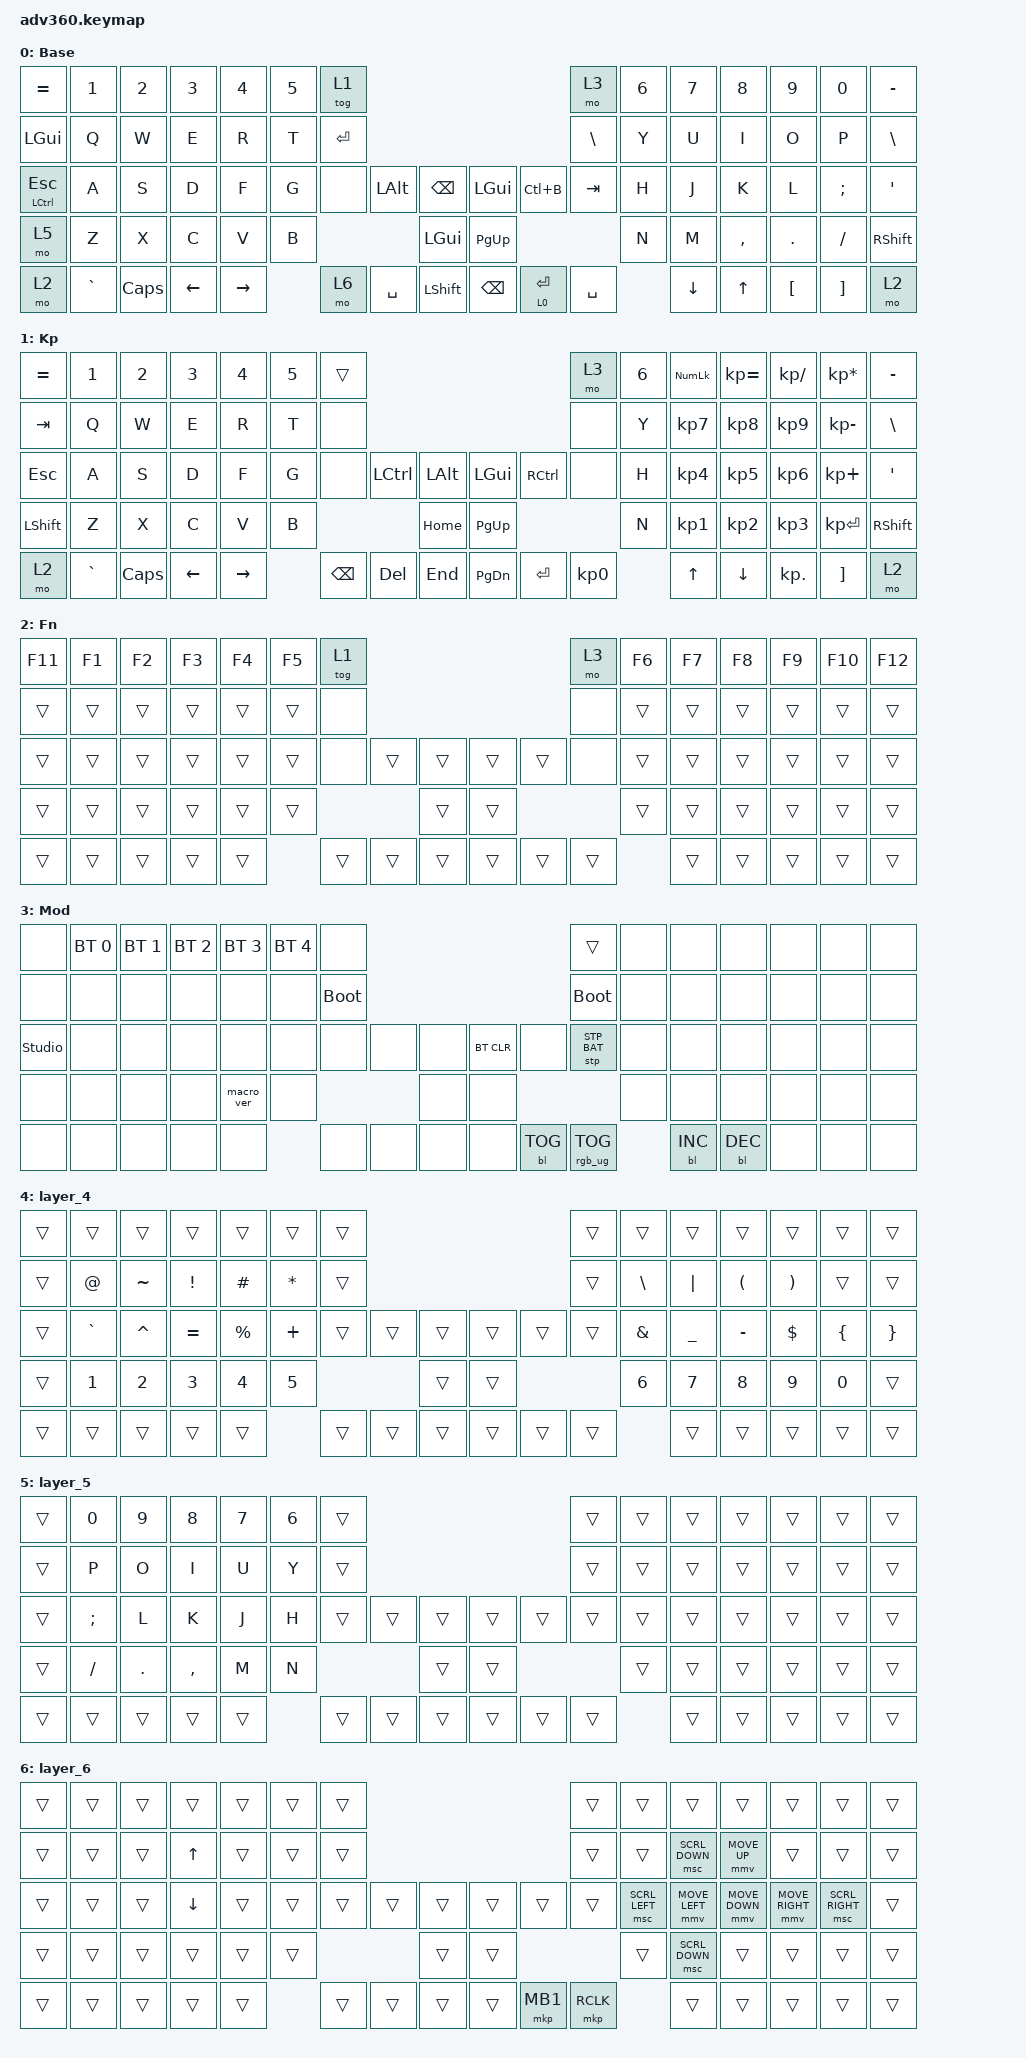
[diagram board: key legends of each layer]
#include <dt-bindings/zmk/stp.h>
#include <dt-bindings/zmk/stp.h>
#include <behaviors.dtsi>
#include <dt-bindings/zmk/backlight.h>
#include <dt-bindings/zmk/bt.h>
#include <dt-bindings/zmk/keys.h>
#define ZMK_POINTING_DEFAULT_MOVE_VAL 1500
#define ZMK_POINTING_DEFAULT_SCRL_VAL 20
#include <dt-bindings/zmk/pointing.h>
#include <dt-bindings/zmk/rgb.h>

/ {
    behaviors {
        #include "macros.dtsi"
      #include "version.dtsi"

      #ifndef VERSION_MACRO

        macro_ver: macro_ver {
            compatible = "zmk,behavior-macro";
            label = "macro_version";
            #binding-cells = <0>;
            bindings = <&kp RET>;
        };

        #endif

        hm: homerow_mods {
            compatible = "zmk,behavior-hold-tap";
            label = "HOMEROW_MODS";
            #binding-cells = <2>;
            tapping-term-ms = <200>;
            quick_tap_ms = <175>;
            flavor = "tap-preferred";
            bindings = <&kp>, <&kp>;
        };

        hrimm: hrimm {
            compatible = "zmk,behavior-hold-tap";
            label = "HRIMM";
            bindings = <&mo>, <&kp>;

            #binding-cells = <2>;
            tapping-term-ms = <115>;
        };

        taphrimm: taphrimm {
            compatible = "zmk,behavior-hold-tap";
            label = "TAPHRIMM";
            bindings = <&kp>, <&kp>;

            #binding-cells = <2>;
            tapping-term-ms = <140>;
        };
    };

    macros {
    };

    keymap {
        compatible = "zmk,keymap";

        default_layer {
            display-name = "Base";
            bindings = <
&kp EQUAL                      &kp N1     &kp N2    &kp N3    &kp N4     &kp N5  &tog 1                                                                      &mo 3          &kp N6  &kp N7    &kp N8     &kp N9    &kp N0    &kp MINUS
&kp LGUI                       &kp Q      &kp W     &kp E     &kp R      &kp T   &kp ENTER                                                                   &kp BACKSLASH  &kp Y   &kp U     &kp I      &kp O     &kp P     &kp BSLH
&taphrimm LEFT_CONTROL ESCAPE  &kp A      &kp S     &kp D     &kp F      &kp G   &none      &kp LEFT_ALT  &kp BACKSPACE       &kp LGUI       &kp LC(B)       &kp TAB        &kp H   &kp J     &kp K      &kp L     &kp SEMI  &kp SQT
&mo 5                          &kp Z      &kp X     &kp C     &kp V      &kp B                            &kp LGUI            &kp PG_UP                                     &kp N   &kp M     &kp COMMA  &kp DOT   &kp FSLH  &kp RSHFT
&mo 2                          &kp GRAVE  &kp CAPS  &kp LEFT  &kp RIGHT          &mo 6      &kp SPACE     &kp LEFT_SHIFT      &kp BACKSPACE  &hrimm 0 ENTER  &kp SPACE              &kp DOWN  &kp UP     &kp LBKT  &kp RBKT  &mo 2
            >;
        };

        keypad {
            display-name = "Kp";
            bindings = <
&kp EQUAL  &kp N1     &kp N2    &kp N3    &kp N4     &kp N5  &trans                                                   &mo 3      &kp N6  &kp KP_NUM  &kp KP_EQUAL  &kp KP_DIVIDE  &kp KP_MULTIPLY  &kp MINUS
&kp TAB    &kp Q      &kp W     &kp E     &kp R      &kp T   &none                                                    &none      &kp Y   &kp KP_N7   &kp KP_N8     &kp KP_N9      &kp KP_MINUS     &kp BSLH
&kp ESC    &kp A      &kp S     &kp D     &kp F      &kp G   &none     &kp LCTRL  &kp LALT      &kp LGUI   &kp RCTRL  &none      &kp H   &kp KP_N4   &kp KP_N5     &kp KP_N6      &kp KP_PLUS      &kp SQT
&kp LSHFT  &kp Z      &kp X     &kp C     &kp V      &kp B                        &kp HOME      &kp PG_UP                        &kp N   &kp KP_N1   &kp KP_N2     &kp KP_N3      &kp KP_ENTER     &kp RSHFT
&mo 2      &kp GRAVE  &kp CAPS  &kp LEFT  &kp RIGHT          &kp BSPC  &kp DEL    &kp END       &kp PG_DN  &kp ENTER  &kp KP_N0          &kp UP      &kp DOWN      &kp KP_DOT     &kp RBKT         &mo 2
            >;
        };

        fn {
            display-name = "Fn";
            bindings = <
&kp F11  &kp F1  &kp F2  &kp F3  &kp F4  &kp F5  &tog 1                                      &mo 3   &kp F6  &kp F7  &kp F8  &kp F9  &kp F10  &kp F12
&trans   &trans  &trans  &trans  &trans  &trans  &none                                       &none   &trans  &trans  &trans  &trans  &trans   &trans
&trans   &trans  &trans  &trans  &trans  &trans  &none   &trans  &trans      &trans  &trans  &none   &trans  &trans  &trans  &trans  &trans   &trans
&trans   &trans  &trans  &trans  &trans  &trans                  &trans      &trans                  &trans  &trans  &trans  &trans  &trans   &trans
&trans   &trans  &trans  &trans  &trans          &trans  &trans  &trans      &trans  &trans  &trans          &trans  &trans  &trans  &trans   &trans
            >;
        };

        mod {
            display-name = "Mod";
            bindings = <
&none           &bt BT_SEL 0  &bt BT_SEL 1  &bt BT_SEL 2  &bt BT_SEL 3  &bt BT_SEL 4  &none                                                  &trans           &none  &none       &none       &none  &none  &none
&none           &none         &none         &none         &none         &none         &bootloader                                            &bootloader      &none  &none       &none       &none  &none  &none
&studio_unlock  &none         &none         &none         &none         &none         &none        &none  &none      &bt BT_CLR  &none       &stp STP_BAT     &none  &none       &none       &none  &none  &none
&none           &none         &none         &none         &macro_ver    &none                             &none      &none                                    &none  &none       &none       &none  &none  &none
&none           &none         &none         &none         &none                       &none        &none  &none      &none       &bl BL_TOG  &rgb_ug RGB_TOG         &bl BL_INC  &bl BL_DEC  &none  &none  &none
            >;
        };

        layer_4 {
            bindings = <
&trans  &trans        &trans        &trans           &trans       &trans    &trans                                      &trans  &trans         &trans     &trans                &trans                 &trans          &trans
&trans  &kp AT        &kp TILDE     &kp EXCLAMATION  &kp POUND    &kp STAR  &trans                                      &trans  &kp BACKSLASH  &kp PIPE   &kp LEFT_PARENTHESIS  &kp RIGHT_PARENTHESIS  &trans          &trans
&trans  &kp GRAVE     &kp CARET     &kp EQUAL        &kp PERCENT  &kp PLUS  &trans  &trans  &trans      &trans  &trans  &trans  &kp AMPS       &kp UNDER  &kp MINUS             &kp DOLLAR             &kp LEFT_BRACE  &kp RIGHT_BRACE
&trans  &kp NUMBER_1  &kp NUMBER_2  &kp NUMBER_3     &kp N4       &kp N5                    &trans      &trans                  &kp N6         &kp N7     &kp N8                &kp N9                 &kp N0          &trans
&trans  &trans        &trans        &trans           &trans                 &trans  &trans  &trans      &trans  &trans  &trans                 &trans     &trans                &trans                 &trans          &trans
            >;
        };

        layer_5 {
            bindings = <
&trans  &kp N0    &kp N9   &kp N8     &kp N7  &kp N6  &trans                                      &trans  &trans  &trans  &trans  &trans  &trans  &trans
&trans  &kp P     &kp O    &kp I      &kp U   &kp Y   &trans                                      &trans  &trans  &trans  &trans  &trans  &trans  &trans
&trans  &kp SEMI  &kp L    &kp K      &kp J   &kp H   &trans  &trans  &trans      &trans  &trans  &trans  &trans  &trans  &trans  &trans  &trans  &trans
&trans  &kp FSLH  &kp DOT  &kp COMMA  &kp M   &kp N                   &trans      &trans                  &trans  &trans  &trans  &trans  &trans  &trans
&trans  &trans    &trans   &trans     &trans          &trans  &trans  &trans      &trans  &trans  &trans          &trans  &trans  &trans  &trans  &trans
            >;
        };

        layer_6 {
            bindings = <
&trans  &trans  &trans  &trans          &trans  &trans  &trans                                        &trans     &trans          &trans          &trans          &trans           &trans           &trans
&trans  &trans  &trans  &kp UP          &trans  &trans  &trans                                        &trans     &trans          &msc SCRL_DOWN  &mmv MOVE_UP    &trans           &trans           &trans
&trans  &trans  &trans  &kp DOWN_ARROW  &trans  &trans  &trans  &trans  &trans      &trans  &trans    &trans     &msc SCRL_LEFT  &mmv MOVE_LEFT  &mmv MOVE_DOWN  &mmv MOVE_RIGHT  &msc SCRL_RIGHT  &trans
&trans  &trans  &trans  &trans          &trans  &trans                  &trans      &trans                       &trans          &msc SCRL_DOWN  &trans          &trans           &trans           &trans
&trans  &trans  &trans  &trans          &trans          &trans  &trans  &trans      &trans  &mkp MB1  &mkp RCLK                  &trans          &trans          &trans           &trans           &trans
            >;
        };
    };
};
